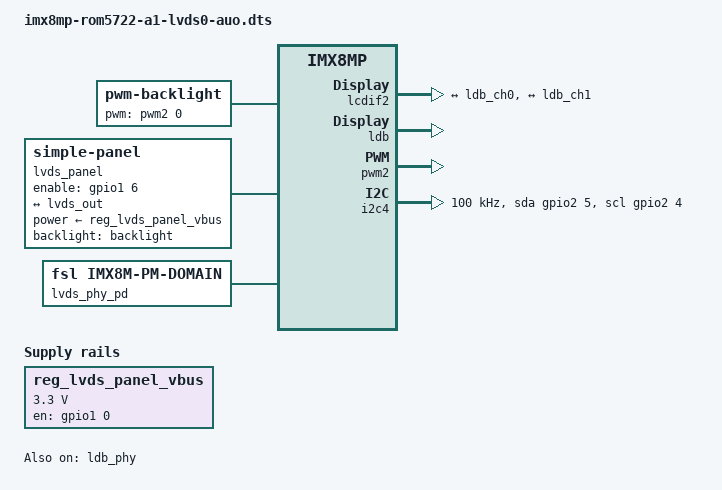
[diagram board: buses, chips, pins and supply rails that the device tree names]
#include "imx8mp-rom5722-a1.dts"

/ {
	aliases {
		video0 = &lcdif2;
	};

	reg_lvds_panel_vbus: reg-lvds-panel-vbus {
		compatible = "regulator-fixed";
		regulator-name = "lvds-panel";
		pinctrl-names = "default";
		pinctrl-0 = <&pinctrl_bklt_vcc>;
		regulator-min-microvolt = <3300000>;
		regulator-max-microvolt = <3300000>;
		enable-active-high;
		gpio = <&gpio1 0 GPIO_ACTIVE_HIGH>; /* LCD_BKLT0_EN */
	};

	backlight: backlight {
		compatible = "pwm-backlight";
		pinctrl-names = "default";
		pwms = <&pwm2 0 5000000>;
		status = "okay";
		brightness-levels = < 0  1  2  3  4  5  6  7  8  9
				     10 11 12 13 14 15 16 17 18 19
				     20 21 22 23 24 25 26 27 28 29
				     30 31 32 33 34 35 36 37 38 39
				     40 41 42 43 44 45 46 47 48 49
				     50 51 52 53 54 55 56 57 58 59
				     60 61 62 63 64 65 66 67 68 69
				     70 71 72 73 74 75 76 77 78 79
				     80 81 82 83 84 85 86 87 88 89
				     90 91 92 93 94 95 96 97 98 99
				     100>;
		default-brightness-level = <80>;
	};

	lvds_panel {
		compatible = "simple-panel";
		pinctrl-names = "default";
		pinctrl-0 = <&pinctrl_lvds_panel>;
		enable-gpios = <&gpio1 6 GPIO_ACTIVE_HIGH>; /* LCD_VDD_EN */
		backlight = <&backlight>;
		power-supply = <&reg_lvds_panel_vbus>;
		status = "okay";
		display-timings {
			native-mode = <&timing0>;
			timing0: timing0 {
				clock-frequency = <29500000>;
				hactive = <800>;
				vactive = <480>;
				hfront-porch = <24>;
				hback-porch = <96>;
				hsync-len = <72>;
				vback-porch = <3>;
				vfront-porch = <10>;
				vsync-len = <7>;
			};
		};
		port {
			lvds_in: endpoint {
				remote-endpoint = <&lvds_out>;
			};
		};
	};
};

&pm_domain {
		lvds_phy_pd: lvdsphy-pd {
			compatible = "fsl,imx8m-pm-domain";
			#power-domain-cells = <0>;
			domain-index = <19>;
			domain-name = "lvds_phy";
			parent-domains = <&mediamix_pd>;
		};
};

&aips4 {
	lcdif2: lcd-controller@32e90000 {
		#address-cells = <1>;
		#size-cells = <0>;
		compatible = "fsl,imx8mp-lcdif2";
		reg = <0x32e90000 0x10000>;
		clocks = <&clk IMX8MP_CLK_MEDIA_DISP2_PIX_ROOT>,
			 <&clk IMX8MP_CLK_MEDIA_AXI_ROOT>,
			 <&clk IMX8MP_CLK_MEDIA_APB_ROOT>;
		clock-names = "pix", "disp-axi", "disp-apb";
		assigned-clocks = <&clk IMX8MP_CLK_MEDIA_DISP2_PIX>,
				  <&clk IMX8MP_CLK_MEDIA_AXI>,
				  <&clk IMX8MP_CLK_MEDIA_APB>;
		assigned-clock-parents = <&clk IMX8MP_VIDEO_PLL1_OUT>,
					 <&clk IMX8MP_SYS_PLL2_1000M>,
					 <&clk IMX8MP_SYS_PLL1_800M>;
		assigned-clock-rates = <0>, <500000000>, <200000000>;
		interrupts = <GIC_SPI 6 IRQ_TYPE_LEVEL_HIGH>;
		blk-ctl = <&mediamix_blk_ctl>;
		power-domains = <&mediamix_pd>;
		status = "disabled";

		lcdif2_disp: port@0 {
			#address-cells = <1>;
			#size-cells = <0>;
			reg = <0>;

			lcdif2_disp_ldb_ch0: endpoint@0 {
				reg = <0>;
				remote-endpoint = <&ldb_ch0>;
			};

			lcdif2_disp_ldb_ch1: endpoint@1 {
				reg = <1>;
				remote-endpoint = <&ldb_ch1>;
			};
		};
	};

	ldb: ldb@32ec005c {
		#address-cells = <1>;
		#size-cells = <0>;
		compatible = "fsl,imx8mp-ldb";
		clocks = <&clk IMX8MP_CLK_MEDIA_LDB_ROOT>;
		clock-names = "ldb";
		assigned-clocks = <&clk IMX8MP_CLK_MEDIA_LDB>;
		assigned-clock-parents = <&clk IMX8MP_VIDEO_PLL1_OUT>;
		gpr = <&mediamix_blk_ctl>;
		power-domains = <&mediamix_pd>;
		status = "disabled";

		lvds-channel@0 {
			#address-cells = <1>;
			#size-cells = <0>;
			reg = <0>;
			phys = <&ldb_phy1>;
			phy-names = "ldb_phy";
			status = "disabled";

			port@0 {
				reg = <0>;

				ldb_ch0: endpoint {
					remote-endpoint = <&lcdif2_disp_ldb_ch0>;
				};
			};
		};

		lvds-channel@1 {
			#address-cells = <1>;
			#size-cells = <0>;
			reg = <1>;
			phys = <&ldb_phy2>;
			phy-names = "ldb_phy";
			status = "disabled";

			port@0 {
				reg = <0>;

				ldb_ch1: endpoint {
					remote-endpoint = <&lcdif2_disp_ldb_ch1>;
				};
			};
		};
	};

	ldb_phy: phy@32ec0128 {
		compatible = "fsl,imx8mp-lvds-phy";
		#address-cells = <1>;
		#size-cells = <0>;
		gpr = <&mediamix_blk_ctl>;
		clocks = <&clk IMX8MP_CLK_MEDIA_APB_ROOT>;
		clock-names = "apb";
		power-domains = <&mediamix_pd>;
		status = "disabled";

		ldb_phy1: port@0 {
			reg = <0>;
			#phy-cells = <0>;
		};

		ldb_phy2: port@1 {
			reg = <1>;
			#phy-cells = <0>;
		};
	};
};

&pwm2 {
	pinctrl-names = "default";
	pinctrl-0 = <&pinctrl_pwm2>;
	status = "okay";
};

&i2c4 {
	clock-frequency = <100000>;
	pinctrl-names = "default", "gpio";
	pinctrl-0 = <&pinctrl_i2c4>;
	pinctrl-1 = <&pinctrl_i2c4_gpio>;
	scl-gpios = <&gpio2 4 GPIO_ACTIVE_HIGH>;
	sda-gpios = <&gpio2 5 GPIO_ACTIVE_HIGH>;
	status = "okay";
};

&lcdif1 {
        status = "disabled";
};

&lcdif2 {
	status = "okay";
};

&ldb {
	status = "okay";
	lvds-channel@0 {
		fsl,data-mapping = "spwg";
		fsl,data-width = <24>;
		status = "okay";
		port@1 {
			reg = <1>;
			lvds_out: endpoint {
				remote-endpoint = <&lvds_in>;
			};
		};
	};
};

&ldb_phy {
	status = "okay";
};

&iomuxc {

	pinctrl_i2c4: i2c4grp {
		fsl,pins = <
			MX8MP_IOMUXC_SD1_DATA2__I2C4_SCL		0x400001c3
			MX8MP_IOMUXC_SD1_DATA3__I2C4_SDA		0x400001c3
		>;
	};

	pinctrl_pwm2: pwm2grp {
		fsl,pins = <
			MX8MP_IOMUXC_SAI5_RXD0__PWM2_OUT		0x116
		>;
	};

	pinctrl_lvds_panel: lvds_panelgrp {
		fsl,pins = <
			MX8MP_IOMUXC_GPIO1_IO06__GPIO1_IO06		0x16
		>;
	};

	pinctrl_bklt_vcc: bklt_vcc_grp {
		fsl,pins = <
			MX8MP_IOMUXC_GPIO1_IO00__GPIO1_IO00		0x16
		>;
	};

	pinctrl_i2c4_gpio: i2c4grp-gpio {
		fsl,pins = <
			MX8MP_IOMUXC_SD1_DATA2__GPIO2_IO04		0x1c3
			MX8MP_IOMUXC_SD1_DATA3__GPIO2_IO05		0x1c3
		>;
	};
};


